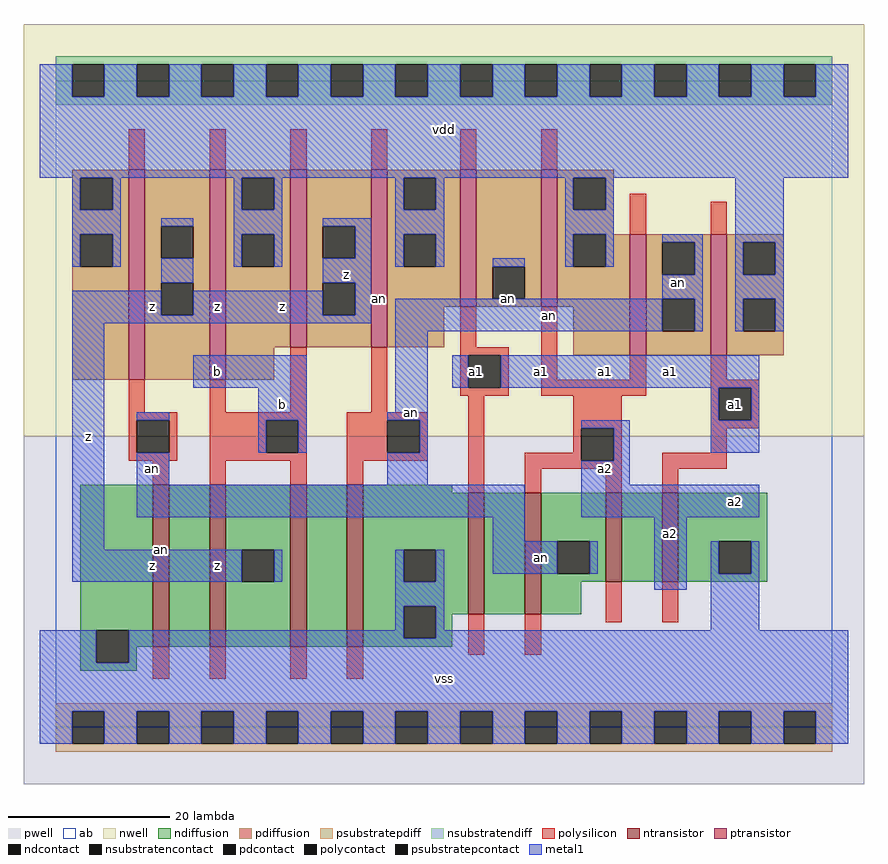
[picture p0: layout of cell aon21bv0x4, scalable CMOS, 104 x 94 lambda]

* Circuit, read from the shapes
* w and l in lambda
.subckt aon21bv0x4 a1 a2 an b vdd vss z
M1 n1 an vss vss nfet w=20 l=2
M2 z b n1 vss nfet w=20 l=2
M3 n2 b z vss nfet w=20 l=2
M4 vss an n2 vss nfet w=20 l=2
M5 n3 a1 vss vss nfet w=15 l=2
M6 an a2 n3 vss nfet w=15 l=2
M7 n4 a2 an vss nfet w=11 l=2
M8 vss a1 n4 vss nfet w=11 l=2
M9 z an vdd vdd pfet w=26 l=2
M10 vdd b z vdd pfet w=26 l=2
M11 z b vdd vdd pfet w=22 l=2
M12 vdd an z vdd pfet w=22 l=2
M13 an a1 vdd vdd pfet w=17 l=2
M14 vdd a2 an vdd pfet w=17 l=2
M15 an a2 vdd vdd pfet w=15 l=2
M16 vdd a1 an vdd pfet w=15 l=2
.ends

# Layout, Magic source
magic
tech scmos
<< ab >>
rect 0 0 96 80
<< pwell >>
rect -4 -7 100 36
<< nwell >>
rect -4 36 100 87
<< polysilicon >>
rect 9 69 11 74
rect 19 69 21 74
rect 29 69 31 74
rect 39 69 41 74
rect 50 69 52 74
rect 60 69 62 74
rect 71 61 73 66
rect 81 61 83 65
rect 50 47 52 52
rect 9 39 11 43
rect 19 39 21 43
rect 29 39 31 47
rect 39 39 41 47
rect 50 46 56 47
rect 50 42 51 46
rect 55 42 56 46
rect 50 41 56 42
rect 60 43 62 52
rect 71 43 73 46
rect 60 41 73 43
rect 81 43 83 46
rect 81 42 87 43
rect 9 38 15 39
rect 9 34 10 38
rect 14 34 15 38
rect 9 33 15 34
rect 19 38 31 39
rect 19 34 26 38
rect 30 34 31 38
rect 19 33 31 34
rect 12 30 14 33
rect 19 30 21 33
rect 29 30 31 33
rect 36 38 46 39
rect 36 34 41 38
rect 45 34 46 38
rect 36 33 46 34
rect 36 30 38 33
rect 51 29 53 41
rect 64 37 70 41
rect 64 34 65 37
rect 58 33 65 34
rect 69 33 70 37
rect 81 38 82 42
rect 86 38 87 42
rect 81 37 87 38
rect 81 34 83 37
rect 58 32 70 33
rect 58 29 60 32
rect 68 29 70 32
rect 75 32 83 34
rect 75 29 77 32
rect 12 6 14 10
rect 19 6 21 10
rect 29 6 31 10
rect 36 6 38 10
rect 51 9 53 14
rect 58 9 60 14
rect 68 13 70 18
rect 75 13 77 18
<< ndiffusion >>
rect 3 12 12 30
rect 3 8 5 12
rect 9 10 12 12
rect 14 10 19 30
rect 21 22 29 30
rect 21 18 23 22
rect 27 18 29 22
rect 21 10 29 18
rect 31 10 36 30
rect 38 29 49 30
rect 38 22 51 29
rect 38 18 43 22
rect 47 18 51 22
rect 38 15 51 18
rect 38 11 43 15
rect 47 14 51 15
rect 53 14 58 29
rect 60 23 68 29
rect 60 19 62 23
rect 66 19 68 23
rect 60 18 68 19
rect 70 18 75 29
rect 77 23 88 29
rect 77 19 82 23
rect 86 19 88 23
rect 77 18 88 19
rect 60 14 65 18
rect 47 11 49 14
rect 38 10 49 11
rect 9 8 10 10
rect 3 7 10 8
<< pdiffusion >>
rect 2 68 9 69
rect 2 64 3 68
rect 7 64 9 68
rect 2 61 9 64
rect 2 57 3 61
rect 7 57 9 61
rect 2 43 9 57
rect 11 62 19 69
rect 11 58 13 62
rect 17 58 19 62
rect 11 55 19 58
rect 11 51 13 55
rect 17 51 19 55
rect 11 43 19 51
rect 21 68 29 69
rect 21 64 23 68
rect 27 64 29 68
rect 21 61 29 64
rect 21 57 23 61
rect 27 57 29 61
rect 21 47 29 57
rect 31 62 39 69
rect 31 58 33 62
rect 37 58 39 62
rect 31 55 39 58
rect 31 51 33 55
rect 37 51 39 55
rect 31 47 39 51
rect 41 68 50 69
rect 41 64 43 68
rect 47 64 50 68
rect 41 61 50 64
rect 41 57 43 61
rect 47 57 50 61
rect 41 52 50 57
rect 52 57 60 69
rect 52 53 54 57
rect 58 53 60 57
rect 52 52 60 53
rect 62 68 69 69
rect 62 64 64 68
rect 68 64 69 68
rect 62 61 69 64
rect 62 57 64 61
rect 68 57 71 61
rect 62 52 71 57
rect 41 47 48 52
rect 21 43 27 47
rect 64 46 71 52
rect 73 60 81 61
rect 73 56 75 60
rect 79 56 81 60
rect 73 53 81 56
rect 73 49 75 53
rect 79 49 81 53
rect 73 46 81 49
rect 83 60 90 61
rect 83 56 85 60
rect 89 56 90 60
rect 83 53 90 56
rect 83 49 85 53
rect 89 49 90 53
rect 83 46 90 49
<< metal1 >>
rect -2 78 2 82
rect 6 78 10 82
rect 14 78 18 82
rect 22 78 26 82
rect 30 78 34 82
rect 38 78 42 82
rect 46 78 50 82
rect 54 78 58 82
rect 62 78 66 82
rect 70 78 74 82
rect 78 78 82 82
rect 86 78 90 82
rect 94 78 98 82
rect -2 68 98 78
rect 2 64 3 68
rect 7 64 8 68
rect 2 61 8 64
rect 22 64 23 68
rect 27 64 28 68
rect 2 57 3 61
rect 7 57 8 61
rect 13 62 17 63
rect 13 55 17 58
rect 22 61 28 64
rect 42 64 43 68
rect 47 64 48 68
rect 22 57 23 61
rect 27 57 28 61
rect 33 62 39 63
rect 37 58 39 62
rect 2 51 13 54
rect 33 55 39 58
rect 42 61 48 64
rect 42 57 43 61
rect 47 57 48 61
rect 63 64 64 68
rect 68 64 69 68
rect 63 61 69 64
rect 54 57 58 58
rect 63 57 64 61
rect 68 57 69 61
rect 75 60 80 61
rect 17 51 33 54
rect 37 51 39 55
rect 79 56 80 60
rect 75 53 80 56
rect 2 50 39 51
rect 2 22 6 50
rect 42 49 75 53
rect 79 49 80 53
rect 84 60 90 68
rect 84 56 85 60
rect 89 56 90 60
rect 84 53 90 56
rect 84 49 85 53
rect 89 49 90 53
rect 17 42 31 46
rect 10 38 14 39
rect 25 38 31 42
rect 42 39 46 49
rect 49 42 51 46
rect 55 42 87 46
rect 25 34 26 38
rect 30 34 31 38
rect 41 38 46 39
rect 81 38 82 42
rect 86 38 87 42
rect 45 34 46 38
rect 10 30 14 34
rect 41 30 46 34
rect 65 37 71 38
rect 69 33 71 37
rect 81 34 87 38
rect 65 30 71 33
rect 10 26 58 30
rect 65 26 87 30
rect 54 23 58 26
rect 2 18 23 22
rect 27 18 28 22
rect 42 18 43 22
rect 47 18 48 22
rect 54 19 62 23
rect 66 19 67 23
rect 42 15 48 18
rect 74 17 78 26
rect 81 19 82 23
rect 86 19 87 23
rect 42 12 43 15
rect -2 8 5 12
rect 9 11 43 12
rect 47 12 48 15
rect 81 12 87 19
rect 47 11 98 12
rect 9 8 98 11
rect -2 2 98 8
rect -2 -2 2 2
rect 6 -2 10 2
rect 14 -2 18 2
rect 22 -2 26 2
rect 30 -2 34 2
rect 38 -2 42 2
rect 46 -2 50 2
rect 54 -2 58 2
rect 62 -2 66 2
rect 70 -2 74 2
rect 78 -2 82 2
rect 86 -2 90 2
rect 94 -2 98 2
<< ntransistor >>
rect 12 10 14 30
rect 19 10 21 30
rect 29 10 31 30
rect 36 10 38 30
rect 51 14 53 29
rect 58 14 60 29
rect 68 18 70 29
rect 75 18 77 29
<< ptransistor >>
rect 9 43 11 69
rect 19 43 21 69
rect 29 47 31 69
rect 39 47 41 69
rect 50 52 52 69
rect 60 52 62 69
rect 71 46 73 61
rect 81 46 83 61
<< polycontact >>
rect 51 42 55 46
rect 10 34 14 38
rect 26 34 30 38
rect 41 34 45 38
rect 65 33 69 37
rect 82 38 86 42
<< ndcontact >>
rect 5 8 9 12
rect 23 18 27 22
rect 43 18 47 22
rect 43 11 47 15
rect 62 19 66 23
rect 82 19 86 23
<< pdcontact >>
rect 3 64 7 68
rect 3 57 7 61
rect 13 58 17 62
rect 13 51 17 55
rect 23 64 27 68
rect 23 57 27 61
rect 33 58 37 62
rect 33 51 37 55
rect 43 64 47 68
rect 43 57 47 61
rect 54 53 58 57
rect 64 64 68 68
rect 64 57 68 61
rect 75 56 79 60
rect 75 49 79 53
rect 85 56 89 60
rect 85 49 89 53
<< psubstratepcontact >>
rect 2 -2 6 2
rect 10 -2 14 2
rect 18 -2 22 2
rect 26 -2 30 2
rect 34 -2 38 2
rect 42 -2 46 2
rect 50 -2 54 2
rect 58 -2 62 2
rect 66 -2 70 2
rect 74 -2 78 2
rect 82 -2 86 2
rect 90 -2 94 2
<< nsubstratencontact >>
rect 2 78 6 82
rect 10 78 14 82
rect 18 78 22 82
rect 26 78 30 82
rect 34 78 38 82
rect 42 78 46 82
rect 50 78 54 82
rect 58 78 62 82
rect 66 78 70 82
rect 74 78 78 82
rect 82 78 86 82
rect 90 78 94 82
<< psubstratepdiff >>
rect 0 2 96 3
rect 0 -2 2 2
rect 6 -2 10 2
rect 14 -2 18 2
rect 22 -2 26 2
rect 30 -2 34 2
rect 38 -2 42 2
rect 46 -2 50 2
rect 54 -2 58 2
rect 62 -2 66 2
rect 70 -2 74 2
rect 78 -2 82 2
rect 86 -2 90 2
rect 94 -2 96 2
rect 0 -3 96 -2
<< nsubstratendiff >>
rect 0 82 96 83
rect 0 78 2 82
rect 6 78 10 82
rect 14 78 18 82
rect 22 78 26 82
rect 30 78 34 82
rect 38 78 42 82
rect 46 78 50 82
rect 54 78 58 82
rect 62 78 66 82
rect 70 78 74 82
rect 78 78 82 82
rect 86 78 90 82
rect 94 78 96 82
rect 0 77 96 78
<< labels >>
rlabel ntransistor 13 22 13 22 6 an
rlabel ptransistor 40 53 40 53 6 an
rlabel metal1 12 20 12 20 6 z
rlabel metal1 12 32 12 32 6 an
rlabel metal1 4 36 4 36 6 z
rlabel metal1 12 52 12 52 6 z
rlabel metal1 20 20 20 20 6 z
rlabel metal1 20 44 20 44 6 b
rlabel metal1 28 40 28 40 6 b
rlabel metal1 28 52 28 52 6 z
rlabel metal1 20 52 20 52 6 z
rlabel metal1 48 6 48 6 6 vss
rlabel polycontact 52 44 52 44 6 a1
rlabel metal1 56 53 56 53 6 an
rlabel metal1 44 39 44 39 6 an
rlabel metal1 36 56 36 56 6 z
rlabel metal1 48 74 48 74 6 vdd
rlabel metal1 60 21 60 21 6 an
rlabel metal1 76 24 76 24 6 a2
rlabel metal1 68 32 68 32 6 a2
rlabel metal1 60 44 60 44 6 a1
rlabel metal1 68 44 68 44 6 a1
rlabel metal1 76 44 76 44 6 a1
rlabel metal1 84 28 84 28 6 a2
rlabel polycontact 84 40 84 40 6 a1
rlabel metal1 77 55 77 55 6 an
rlabel metal1 61 51 61 51 6 an
<< end >>
